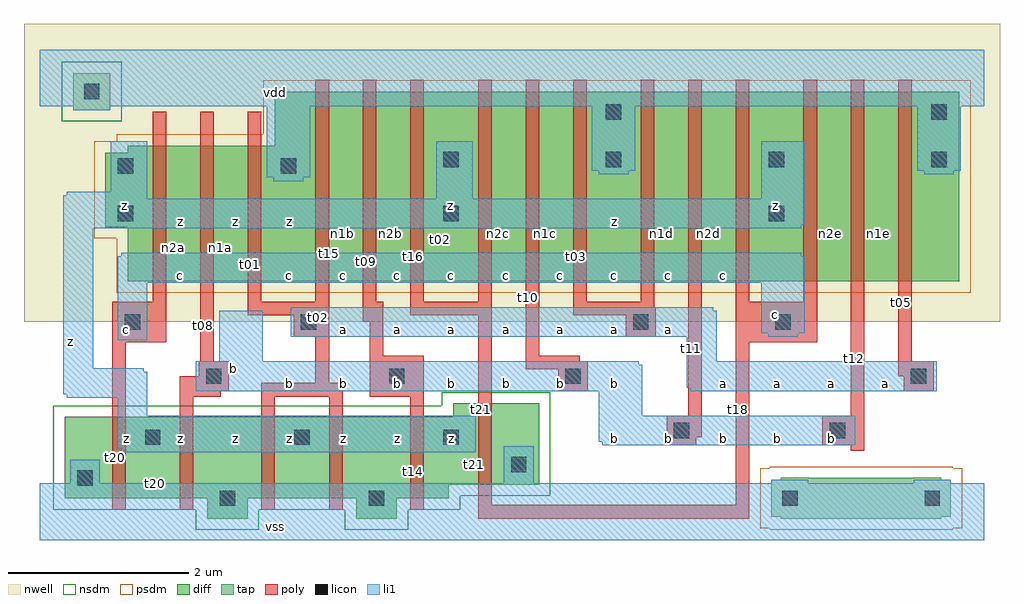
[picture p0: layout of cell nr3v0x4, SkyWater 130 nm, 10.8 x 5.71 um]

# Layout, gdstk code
import gdstk
lib = gdstk.Library(unit=1e-6, precision=5e-09)
def R(c, l, rs):  # rectangles x0, y0, x1, y1
    for r in rs: c.add(gdstk.rectangle(r[:2], r[2:], *l))
def A(c, l, x, y, w, h, nx, ny, dx, dy):  # array of equal rectangles
    R(c, l, [(x+i*dx, y+j*dy, x+i*dx+w, y+j*dy+h) for i in range(nx) for j in range(ny)])
nwell = (64, 20)
diff = (65, 20)
tap = (65, 44)
poly = (66, 20)
licon = (66, 44)
li1 = (67, 20)
nsdm = (93, 44)
psdm = (94, 20)

nr3v0x4 = lib.new_cell('nr3v0x4')
R(nr3v0x4, nwell, [(-0.3,2.4,10.5,5.7)])
R(nr3v0x4, diff, [(1.725,0.225,2.175,1.35), (3.375,0.225,3.825,1.35), (0.15,0.45,4.4,1.35), (0.15,0.6,5.4,1.35), (0.15,0.6,5.4,1.35), (4.45,0.6,5.4,1.5), (0.85,2.85,10.05,4.35), (2.475,2.85,10.05,4.95), (0.6,3.45,10.05,4.275)])
R(nr3v0x4, tap, [(8.075,0.225,9.85,0.675), (7.97,0.245,9.955,0.655), (0.245,4.745,0.655,5.155)])
A(nr3v0x4, poly, 2.175, 2.475, 0.9, 0.15, 3, 1, 1.8, 0)
R(nr3v0x4, poly, [(4.725,0.225,4.875,5.08), (4.725,0.225,7.725,0.375), (7.575,0.225,7.725,5.08), (0.675,0.32,0.825,2.625), (1.425,0.32,1.575,1.8), (2.325,0.32,2.475,1.725), (3.075,0.32,3.225,1.725), (3.975,0.32,4.125,2.025), (8.85,0.975,9,5.08), (6.81,1.035,7.14,1.365), (8.535,1.035,9,1.365), (6.81,1.125,7.2,1.365), (7.05,1.125,7.2,5.08), (1.425,1.575,1.875,1.8), (1.635,1.575,1.875,1.965), (1.65,1.575,1.8,4.725), (2.325,1.575,3.225,1.725), (2.925,1.575,3.075,5.08), (3.525,1.575,4.125,2.025), (3.525,1.575,3.675,2.625), (1.425,1.635,1.965,1.8), (1.635,1.635,1.965,1.965), (5.61,1.635,5.94,1.965), (9.435,1.635,9.765,1.965), (9.375,1.8,9.525,5.08), (5.25,1.875,5.85,2.025), (5.25,1.875,5.4,5.08), (0.675,2.175,1.275,2.625), (1.125,2.175,1.275,4.725), (7.575,2.175,8.475,2.625), (8.325,2.175,8.475,5.08), (2.685,2.235,3.075,2.625), (6.36,2.235,6.69,2.565), (6.36,2.235,6.675,2.625), (6.525,2.235,6.675,5.08), (3.45,2.4,3.675,2.625), (3.45,2.4,3.6,5.08), (2.175,2.475,2.325,4.725), (3.975,2.475,4.125,5.08), (5.775,2.475,5.925,5.08)])
A(nr3v0x4, licon, 1.04, 1.04, 0.17, 0.17, 3, 1, 1.65, 0)
A(nr3v0x4, licon, 0.74, 3.515, 0.17, 0.17, 3, 1, 3.6, 0)
A(nr3v0x4, licon, 4.34, 4.115, 0.17, 0.17, 4, 1, 1.8, 0)
R(nr3v0x4, licon, [(1.865,0.365,2.035,0.535), (3.515,0.365,3.685,0.535), (8.09,0.365,8.26,0.535), (9.665,0.365,9.835,0.535), (0.29,0.59,0.46,0.76), (5.09,0.74,5.26,0.91), (6.89,1.115,7.06,1.285), (8.615,1.115,8.785,1.285), (1.715,1.715,1.885,1.885), (3.74,1.715,3.91,1.885), (5.69,1.715,5.86,1.885), (9.515,1.715,9.685,1.885), (0.815,2.315,0.985,2.485), (2.765,2.315,2.935,2.485), (6.44,2.315,6.61,2.485), (8.015,2.315,8.185,2.485), (0.74,4.04,0.91,4.21), (2.54,4.04,2.71,4.21), (6.14,4.64,6.31,4.81), (9.74,4.64,9.91,4.81), (0.365,4.865,0.535,5.035)])
A(nr3v0x4, li1, 0.775, 1.035, 0.25, 0.33, 7, 1, 0.6, 0)
A(nr3v0x4, li1, 6.175, 1.035, 0.25, 0.33, 5, 1, 0.6, 0)
A(nr3v0x4, li1, 2.575, 1.635, 0.25, 0.33, 7, 1, 0.6, 0)
A(nr3v0x4, li1, 7.375, 1.635, 0.25, 0.33, 4, 1, 0.6, 0)
A(nr3v0x4, li1, 3.175, 2.235, 0.25, 0.33, 7, 1, 0.6, 0)
A(nr3v0x4, li1, 1.375, 2.835, 0.25, 0.33, 11, 1, 0.6, 0)
A(nr3v0x4, li1, 1.375, 3.435, 0.25, 0.33, 5, 1, 0.6, 0)
A(nr3v0x4, li1, 4.975, 3.435, 0.25, 0.33, 5, 1, 0.6, 0)
A(nr3v0x4, li1, 0.735, 3.475, 0.33, 0.85, 3, 1, 3.6, 0)
R(nr3v0x4, li1, [(-0.125,-0.015,10.325,0.615), (-0.125,-0.015,10.325,0.615), (0.21,-0.015,0.54,0.875), (5.01,-0.015,5.34,1.025), (7.97,-0.015,8.38,0.655), (9.545,-0.015,9.955,0.655), (0.775,0.96,1.025,1.89), (0.775,0.96,1.065,1.85), (0.775,0.96,4.7,1.365), (0.735,1,1.065,1.85), (0.735,1,1.025,1.89), (0.735,1,4.7,1.365), (6.1,1.035,6.5,1.965), (6.1,1.035,6.54,1.925), (6.1,1.035,8.9,1.365), (6.06,1.075,6.54,1.925), (6.06,1.075,6.5,1.965), (6.06,1.075,8.9,1.365), (0.175,1.56,1.025,1.89), (0.175,1.56,1.065,1.85), (0.175,1.56,0.465,3.84), (0.135,1.6,1.065,1.85), (0.135,1.6,1.025,1.89), (0.135,1.6,0.465,3.8), (1.6,1.635,6.54,1.925), (1.6,1.635,6.5,1.965), (1.86,1.635,2.34,2.525), (7.075,1.635,7.325,2.565), (7.075,1.635,7.365,2.525), (7.075,1.635,9.8,1.965), (0.135,1.675,0.465,3.725), (1.935,1.675,2.265,2.525), (7.035,1.675,7.365,2.525), (7.035,1.675,7.325,2.565), (7.035,1.675,9.8,1.965), (0.735,2.2,1.065,3.125), (0.775,2.2,1.065,3.165), (0.775,2.235,1.025,2.565), (2.65,2.235,7.365,2.525), (2.65,2.235,7.325,2.565), (7.935,2.235,8.265,3.165), (7.86,2.275,8.34,3.125), (7.86,2.275,8.3,3.165), (7.935,2.275,8.265,3.125), (0.735,2.835,8.34,3.125), (0.775,2.835,8.3,3.165), (0.135,3.435,1.065,3.8), (0.135,3.435,8.3,3.765), (0.175,3.435,1.065,3.84), (0.66,3.435,1.065,4.4), (4.26,3.435,4.665,4.4), (7.86,3.435,8.3,4.4), (0.135,3.475,8.34,3.765), (7.86,3.475,8.34,4.4), (2.46,3.96,2.79,5.415), (2.385,4,2.865,5.415), (6.06,4.035,6.39,5.415), (9.66,4.035,9.99,5.415), (5.985,4.075,6.465,5.415), (9.585,4.075,10.065,5.415), (0.245,4.745,0.655,5.415), (-0.125,4.785,10.325,5.415), (-0.125,4.785,10.325,5.415)])
A(nr3v0x4, nsdm, 0.98, 0.98, 0.29, 0.29, 3, 1, 1.65, 0)
R(nr3v0x4, nsdm, [(1.6,0.1,2.3,1.475), (3.25,0.1,3.95,1.475), (1.725,0.225,2.175,1.35), (1.725,0.225,2.175,1.35), (3.375,0.225,3.825,1.35), (3.375,0.225,3.825,1.35), (1.805,0.305,2.095,0.595), (3.455,0.305,3.745,0.595), (0.025,0.325,4.525,1.475), (0.15,0.45,0.6,1.35), (0.15,0.45,0.6,1.35), (0.975,0.45,1.275,1.35), (0.975,0.45,1.275,1.35), (2.625,0.45,2.925,1.35), (2.625,0.45,2.925,1.35), (0.025,0.475,5.525,1.475), (0.025,0.475,5.525,1.475), (4.325,0.475,5.525,1.625), (0.23,0.53,0.52,0.82), (4.275,0.6,4.575,1.35), (4.275,0.6,4.575,1.35), (4.95,0.6,5.4,1.5), (4.95,0.6,5.4,1.5), (5.03,0.68,5.32,0.97), (0.12,4.62,0.78,5.28)])
A(nr3v0x4, psdm, 0.68, 3.455, 0.29, 0.29, 3, 1, 3.6, 0)
A(nr3v0x4, psdm, 4.28, 4.055, 0.29, 0.29, 4, 1, 1.8, 0)
R(nr3v0x4, psdm, [(7.95,0.1,9.975,0.8), (7.845,0.12,10.08,0.78), (0.725,2.725,10.175,4.475), (2.35,2.725,10.175,5.075), (1.275,2.85,1.575,4.35), (1.275,2.85,1.575,4.35), (1.8,2.85,2.1,4.35), (1.8,2.85,2.1,4.35), (2.475,2.85,2.775,4.95), (2.475,2.85,2.775,4.95), (3.15,2.85,3.45,4.95), (3.15,2.85,3.45,4.95), (3.675,2.85,3.975,4.95), (3.675,2.85,3.975,4.95), (4.275,2.85,4.575,4.95), (4.275,2.85,4.575,4.95), (4.875,2.85,5.175,4.95), (4.875,2.85,5.175,4.95), (5.4,2.85,5.7,4.95), (5.4,2.85,5.7,4.95), (6.075,2.85,6.375,4.95), (6.075,2.85,6.375,4.95), (6.675,2.85,6.975,4.95), (6.675,2.85,6.975,4.95), (7.2,2.85,7.5,4.95), (7.2,2.85,7.5,4.95), (7.8,2.85,8.25,4.35), (7.8,2.85,8.25,4.35), (7.875,2.85,8.175,4.95), (7.875,2.85,8.175,4.95), (8.55,2.85,8.85,4.95), (8.55,2.85,8.85,4.95), (9.075,2.85,9.375,4.95), (9.075,2.85,9.375,4.95), (9.6,2.85,10.05,4.95), (9.6,2.85,10.05,4.95), (0.475,3.325,10.175,4.4), (0.6,3.45,1.05,4.275), (0.6,3.45,1.05,4.275), (0.68,3.98,0.97,4.27), (2.48,3.98,2.77,4.27), (6.08,4.58,6.37,4.87), (9.68,4.58,9.97,4.87)])
nr3v0x4.add(gdstk.Label('t20', (1.15,0.61), layer=93, texttype=44))
nr3v0x4.add(gdstk.Label('t15', (3.085,3.16), layer=94, texttype=20))
nr3v0x4.add(gdstk.Label('t02', (4.305,3.31), layer=94, texttype=20))
nr3v0x4.add(gdstk.Label('t21', (4.685,0.825), layer=65, texttype=20))
nr3v0x4.add(gdstk.Label('t20', (1.21,0.675), layer=65, texttype=20))
nr3v0x4.add(gdstk.Label('t15', (3.15,3.225), layer=65, texttype=20))
nr3v0x4.add(gdstk.Label('t02', (4.365,3.375), layer=65, texttype=20))
nr3v0x4.add(gdstk.Label('n2d', (7.275,3.375), layer=94, texttype=20))
nr3v0x4.add(gdstk.Label('n1d', (6.75,3.375), layer=94, texttype=20))
nr3v0x4.add(gdstk.Label('n1c', (5.475,3.375), layer=94, texttype=20))
nr3v0x4.add(gdstk.Label('n2c', (4.95,3.375), layer=94, texttype=20))
nr3v0x4.add(gdstk.Label('n2b', (3.75,3.375), layer=94, texttype=20))
nr3v0x4.add(gdstk.Label('n1b', (3.225,3.375), layer=94, texttype=20))
nr3v0x4.add(gdstk.Label('n1a', (1.875,3.225), layer=94, texttype=20))
nr3v0x4.add(gdstk.Label('n2a', (1.35,3.225), layer=94, texttype=20))
nr3v0x4.add(gdstk.Label('n1e', (9.15,3.375), layer=94, texttype=20))
nr3v0x4.add(gdstk.Label('n2e', (8.625,3.375), layer=94, texttype=20))
nr3v0x4.add(gdstk.Label('t20', (0.71,0.895), layer=66, texttype=20))
nr3v0x4.add(gdstk.Label('t01', (2.21,3.035), layer=66, texttype=20))
nr3v0x4.add(gdstk.Label('t08', (1.685,2.36), layer=66, texttype=20))
nr3v0x4.add(gdstk.Label('t14', (4.01,0.745), layer=66, texttype=20))
nr3v0x4.add(gdstk.Label('t16', (4.01,3.125), layer=66, texttype=20))
nr3v0x4.add(gdstk.Label('t09', (3.485,3.07), layer=66, texttype=20))
nr3v0x4.add(gdstk.Label('t02', (2.96,2.45), layer=66, texttype=20))
nr3v0x4.add(gdstk.Label('t03', (5.81,3.125), layer=66, texttype=20))
nr3v0x4.add(gdstk.Label('t10', (5.285,2.675), layer=66, texttype=20))
nr3v0x4.add(gdstk.Label('t21', (4.76,1.435), layer=66, texttype=20))
nr3v0x4.add(gdstk.Label('t11', (7.085,2.11), layer=66, texttype=20))
nr3v0x4.add(gdstk.Label('t18', (7.61,1.435), layer=66, texttype=20))
nr3v0x4.add(gdstk.Label('t05', (9.41,2.62), layer=66, texttype=20))
nr3v0x4.add(gdstk.Label('t12', (8.885,2), layer=66, texttype=20))
nr3v0x4.add(gdstk.Label('z', (0.835,1.115), layer=67, texttype=20))
nr3v0x4.add(gdstk.Label('c', (0.835,2.315), layer=67, texttype=20))
nr3v0x4.add(gdstk.Label('z', (0.815,3.685), layer=67, texttype=20))
nr3v0x4.add(gdstk.Label('z', (0.215,2.185), layer=67, texttype=20))
nr3v0x4.add(gdstk.Label('z', (1.435,1.115), layer=67, texttype=20))
nr3v0x4.add(gdstk.Label('z', (2.035,1.115), layer=67, texttype=20))
nr3v0x4.add(gdstk.Label('z', (2.635,1.115), layer=67, texttype=20))
nr3v0x4.add(gdstk.Label('b', (2.635,1.715), layer=67, texttype=20))
nr3v0x4.add(gdstk.Label('b', (2.015,1.885), layer=67, texttype=20))
nr3v0x4.add(gdstk.Label('c', (1.435,2.915), layer=67, texttype=20))
nr3v0x4.add(gdstk.Label('c', (2.035,2.915), layer=67, texttype=20))
nr3v0x4.add(gdstk.Label('c', (2.635,2.915), layer=67, texttype=20))
nr3v0x4.add(gdstk.Label('z', (2.635,3.515), layer=67, texttype=20))
nr3v0x4.add(gdstk.Label('z', (2.035,3.515), layer=67, texttype=20))
nr3v0x4.add(gdstk.Label('z', (1.435,3.515), layer=67, texttype=20))
nr3v0x4.add(gdstk.Label('z', (3.235,1.115), layer=67, texttype=20))
nr3v0x4.add(gdstk.Label('z', (3.835,1.115), layer=67, texttype=20))
nr3v0x4.add(gdstk.Label('z', (4.435,1.115), layer=67, texttype=20))
nr3v0x4.add(gdstk.Label('b', (4.435,1.715), layer=67, texttype=20))
nr3v0x4.add(gdstk.Label('b', (3.835,1.715), layer=67, texttype=20))
nr3v0x4.add(gdstk.Label('b', (3.235,1.715), layer=67, texttype=20))
nr3v0x4.add(gdstk.Label('a', (3.235,2.315), layer=67, texttype=20))
nr3v0x4.add(gdstk.Label('a', (3.835,2.315), layer=67, texttype=20))
nr3v0x4.add(gdstk.Label('a', (4.435,2.315), layer=67, texttype=20))
nr3v0x4.add(gdstk.Label('c', (3.235,2.915), layer=67, texttype=20))
nr3v0x4.add(gdstk.Label('c', (3.835,2.915), layer=67, texttype=20))
nr3v0x4.add(gdstk.Label('c', (4.435,2.915), layer=67, texttype=20))
nr3v0x4.add(gdstk.Label('z', (4.415,3.685), layer=67, texttype=20))
nr3v0x4.add(gdstk.Label('z', (3.835,3.515), layer=67, texttype=20))
nr3v0x4.add(gdstk.Label('z', (3.235,3.515), layer=67, texttype=20))
nr3v0x4.add(gdstk.Label('b', (6.235,1.115), layer=67, texttype=20))
nr3v0x4.add(gdstk.Label('b', (6.235,1.715), layer=67, texttype=20))
nr3v0x4.add(gdstk.Label('b', (5.635,1.715), layer=67, texttype=20))
nr3v0x4.add(gdstk.Label('b', (5.035,1.715), layer=67, texttype=20))
nr3v0x4.add(gdstk.Label('a', (5.035,2.315), layer=67, texttype=20))
nr3v0x4.add(gdstk.Label('a', (5.635,2.315), layer=67, texttype=20))
nr3v0x4.add(gdstk.Label('a', (6.235,2.315), layer=67, texttype=20))
nr3v0x4.add(gdstk.Label('c', (5.035,2.915), layer=67, texttype=20))
nr3v0x4.add(gdstk.Label('c', (5.635,2.915), layer=67, texttype=20))
nr3v0x4.add(gdstk.Label('c', (6.235,2.915), layer=67, texttype=20))
nr3v0x4.add(gdstk.Label('z', (6.235,3.515), layer=67, texttype=20))
nr3v0x4.add(gdstk.Label('z', (5.635,3.515), layer=67, texttype=20))
nr3v0x4.add(gdstk.Label('z', (5.035,3.515), layer=67, texttype=20))
nr3v0x4.add(gdstk.Label('b', (6.835,1.115), layer=67, texttype=20))
nr3v0x4.add(gdstk.Label('b', (7.435,1.115), layer=67, texttype=20))
nr3v0x4.add(gdstk.Label('b', (8.035,1.115), layer=67, texttype=20))
nr3v0x4.add(gdstk.Label('a', (8.035,1.715), layer=67, texttype=20))
nr3v0x4.add(gdstk.Label('a', (7.435,1.715), layer=67, texttype=20))
nr3v0x4.add(gdstk.Label('a', (6.835,2.315), layer=67, texttype=20))
nr3v0x4.add(gdstk.Label('c', (8.015,2.485), layer=67, texttype=20))
nr3v0x4.add(gdstk.Label('c', (6.835,2.915), layer=67, texttype=20))
nr3v0x4.add(gdstk.Label('c', (7.435,2.915), layer=67, texttype=20))
nr3v0x4.add(gdstk.Label('z', (8.015,3.685), layer=67, texttype=20))
nr3v0x4.add(gdstk.Label('z', (7.435,3.515), layer=67, texttype=20))
nr3v0x4.add(gdstk.Label('z', (6.835,3.515), layer=67, texttype=20))
nr3v0x4.add(gdstk.Label('vss', (2.485,0.14), layer=67, texttype=20))
nr3v0x4.add(gdstk.Label('b', (8.635,1.115), layer=67, texttype=20))
nr3v0x4.add(gdstk.Label('a', (9.235,1.715), layer=67, texttype=20))
nr3v0x4.add(gdstk.Label('a', (8.635,1.715), layer=67, texttype=20))
nr3v0x4.add(gdstk.Label('vdd', (2.485,4.94), layer=67, texttype=20))

lib.write_gds('nr3v0x4.gds')
